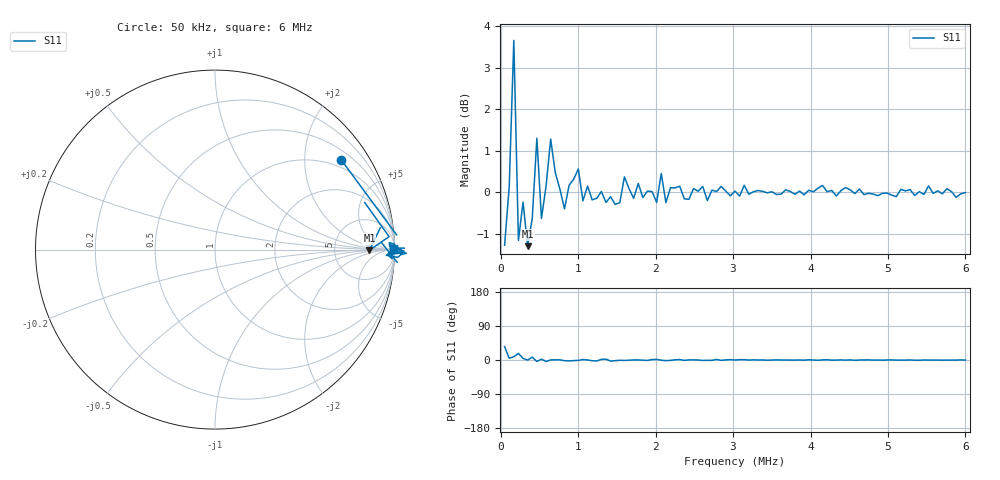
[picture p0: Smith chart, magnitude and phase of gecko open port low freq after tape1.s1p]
! File created by NanoVNA (https://gen111.taobao.com/)
! Start 50000Hz  Stop 6000000Hz  Points 101
# HZ S MA R 50
!S - Parameter data, F S11
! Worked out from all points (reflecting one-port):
!   101 points, 50 kHz to 6 MHz, reference 50 ohm
!   lowest |S11| = -1.3 dB at 347.5 kHz (marker M1), VSWR 13.35, Z = 667 - j17.5 ohm
!   phase of S11 starts at 35 deg and turns -36 deg over the sweep
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50000  0.8629 35.4
109500  1.015 4.6
169000  1.523 8.6
228500  0.8744 17.5
288000  0.9727 4.3
347500  0.8607 -0.2
407000  0.9293 7.5
466500  1.161 -3.9
526000  0.9297 2.3
585500  1.017 -4.0
645000  1.158 0.3
823500  0.9547 -1.9
1002000  1.066 -1.1
1061500  0.976 1.3
1240000  0.983 -2.6
1359000  0.9716 2.3
1418500  0.9871 -2.9
1537500  0.9708 -0.8
1597000  1.043 -1.2
2013500  0.9716 1.6
2073000  1.053 -0.5
2132500  0.9712 -1.7
2311000  1.016 1.3
3025000  1.003 0.0
3798500  0.9939 -0.2
4512500  1.006 0.3
5286000  1.007 0.1
6000000  0.9985 -0.2
